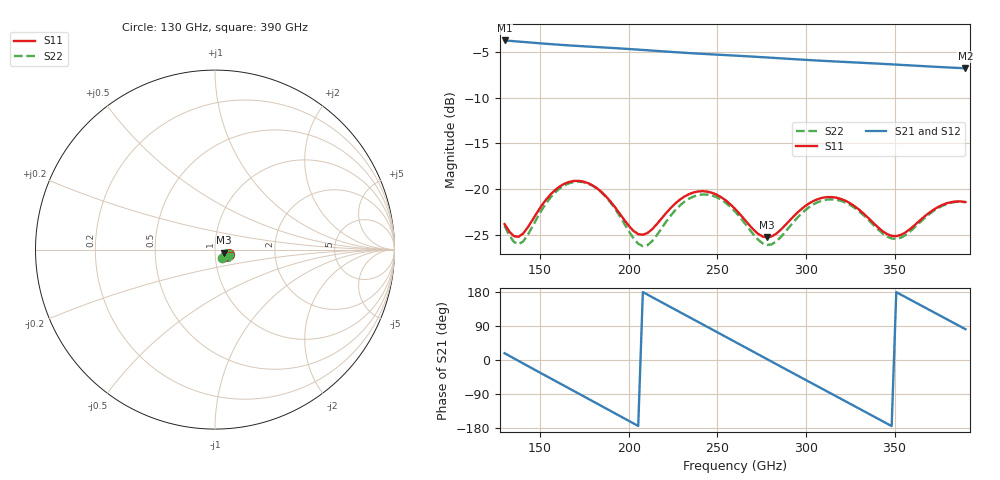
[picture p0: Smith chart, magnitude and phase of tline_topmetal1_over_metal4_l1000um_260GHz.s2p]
#  GHZ S DB R 50
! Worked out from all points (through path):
!   101 points, 130 GHz to 390 GHz, reference 50 ohm
!   highest |S21| = -3.76 dB at 130 GHz (marker M1); lowest = -6.8 dB at 390 GHz (marker M2)
!   group delay of S21, straight-line fit = 7.01 ps
!   lowest |S11| = -25.3 dB at 278.2 GHz (marker M3), VSWR 1.12, Z = 55.4 - j1.97 ohm
!   |S11| at or under -10 dB: start of sweep to end of sweep
!   |S22| runs from -26.2 to -19.2 dB; largest |S21 - S12| = 9.3e-14
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130  -23.83 -42.0  -3.76 17.8  -3.76 17.8  -24.02 -49.3
137.8  -25.21 -20.9  -3.88 -2.2  -3.88 -2.2  -26.02 -26.8
148.2  -22.60 -2.2  -4.04 -28.8  -4.04 -28.8  -23.20 -3.8
161.2  -19.70 -8.9  -4.23 -61.8  -4.23 -61.8  -19.92 -10.8
174.2  -19.17 -24.5  -4.39 -94.8  -4.39 -94.8  -19.23 -27.8
184.6  -20.30 -35.7  -4.51 -121.2  -4.51 -121.2  -20.35 -40.7
197.6  -23.39 -37.8  -4.66 -154.3  -4.66 -154.3  -23.79 -45.8
208  -25.00 -20.1  -4.80 179.3  -4.80 179.3  -26.24 -26.5
218.4  -23.25 -5.4  -4.94 152.9  -4.94 152.9  -24.33 -6.4
239.2  -20.26 -17.0  -5.20 100.4  -5.20 100.4  -20.66 -18.0
249.6  -20.61 -27.9  -5.31 74.2  -5.31 74.2  -20.89 -29.9
260  -22.15 -35.0  -5.42 48.0  -5.42 48.0  -22.45 -38.4
278.2  -25.29 -19.0  -5.62 2.0  -5.62 2.0  -26.11 -22.5
291.2  -23.36 -4.2  -5.78 -30.8  -5.78 -30.8  -24.02 -4.7
304.2  -21.31 -9.4  -5.93 -63.4  -5.93 -63.4  -21.68 -9.9
314.6  -20.87 -19.0  -6.04 -89.5  -6.04 -89.5  -21.12 -20.1
325  -21.55 -28.0  -6.14 -115.6  -6.14 -115.6  -21.74 -29.9
338  -23.69 -31.2  -6.26 -148.3  -6.26 -148.3  -23.89 -33.8
348.4  -25.11 -20.8  -6.37 -174.4  -6.37 -174.4  -25.40 -23.6
358.8  -24.36 -7.8  -6.48 159.5  -6.48 159.5  -24.63 -10.0
371.8  -22.28 -7.0  -6.62 126.9  -6.62 126.9  -22.42 -9.1
390  -21.42 -21.0  -6.80 81.4  -6.80 81.4  -21.43 -23.8
